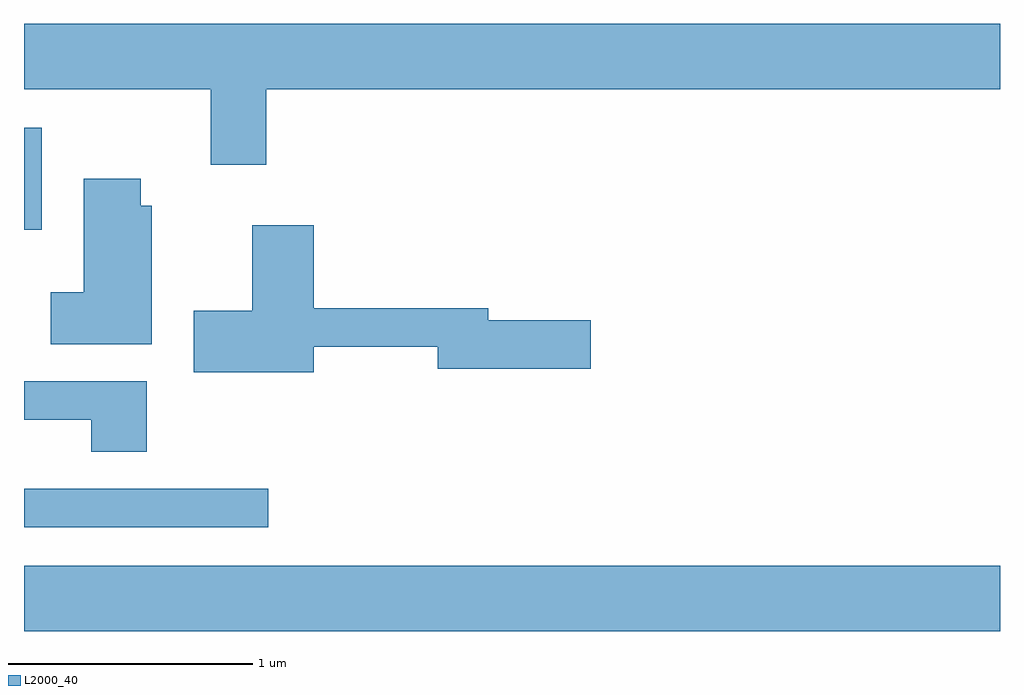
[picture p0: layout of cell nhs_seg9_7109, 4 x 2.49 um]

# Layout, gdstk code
import gdstk
lib = gdstk.Library(unit=1e-6, precision=1e-09)
def R(c, l, rs):  # rectangles x0, y0, x1, y1
    for r in rs: c.add(gdstk.rectangle(r[:2], r[2:], *l))
def P(c, l, *ps):  # polygons
    for p in ps: c.add(gdstk.Polygon(p, *l))
L2000_40 = (2000, 40)

nhs_seg9_7109 = lib.new_cell('nhs_seg9_7109')
R(nhs_seg9_7109, L2000_40, [(395.611,2005.136,399.611,2005.404), (395.611,2005.561,396.613,2005.719), (395.611,2006.781,395.684,2007.199)])
P(nhs_seg9_7109, L2000_40, [(396.604,2007.356),(399.611,2007.356),(399.611,2007.624),(395.611,2007.624),(395.611,2007.356),(396.376,2007.356),(396.376,2007.046),(396.604,2007.046)],
  [(396.134,2006.879),(396.089,2006.879),(396.089,2006.989),(395.856,2006.989),(395.856,2006.524),(395.721,2006.524),(395.721,2006.311),(396.134,2006.311)],
  [(396.799,2006.301),(397.306,2006.301),(397.306,2006.211),(397.934,2006.211),(397.934,2006.409),(397.514,2006.409),(397.514,2006.459),(396.799,2006.459),(396.799,2006.799),(396.546,2006.799),(396.546,2006.449),(396.306,2006.449),(396.306,2006.196),(396.799,2006.196)],
  [(396.114,2006.159),(395.611,2006.159),(395.611,2006.001),(395.886,2006.001),(395.886,2005.871),(396.114,2005.871)])

lib.write_gds('nhs_seg9_7109.gds')
